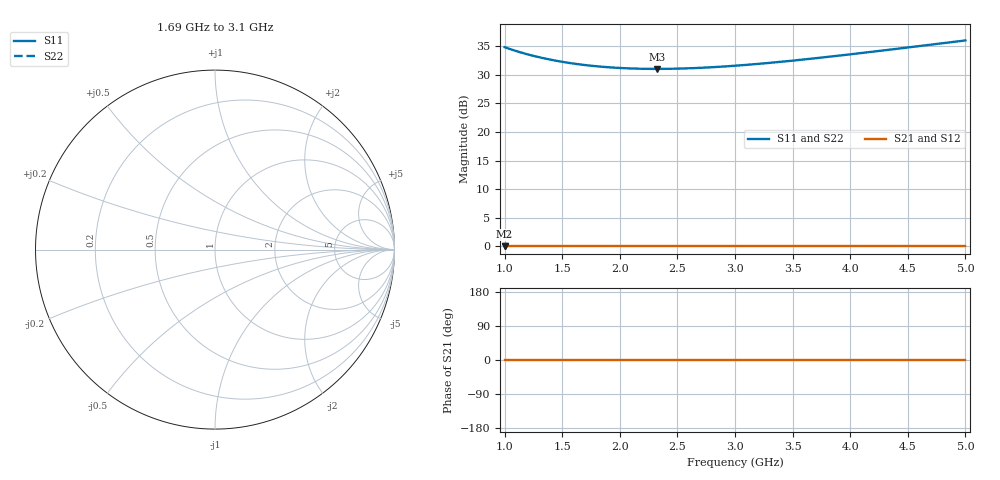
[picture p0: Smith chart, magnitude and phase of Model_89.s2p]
# GHZ S RI R 50
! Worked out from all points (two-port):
!   401 points, 1 GHz to 5 GHz, reference 50 ohm
!   highest |S21| = 0.00 dB at 1 GHz (marker M1); lowest = 0.0 dB at 1 GHz (marker M2)
!   |S21| within 3 dB of the highest: start of sweep to end of sweep
!   lowest |S11| = 31.1 dB at 2.32 GHz (marker M3)
!   |S11| at or under -10 dB: nowhere
!   |S22| runs from 31.1 to 36.0 dB; largest |S21 - S12| = 0
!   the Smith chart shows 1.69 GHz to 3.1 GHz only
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1  55.3 0  1 0  1 0  55.3 0
1.15  49.44 0  1 0  1 0  49.44 0
1.22  47.29 0  1 0  1 0  47.29 0
1.3  45.17 0  1 0  1 0  45.17 0
1.38  43.38 0  1 0  1 0  43.38 0
1.47  41.68 0  1 0  1 0  41.68 0
1.57  40.13 0  1 0  1 0  40.13 0
1.67  38.88 0  1 0  1 0  38.88 0
1.82  37.46 0  1 0  1 0  37.46 0
1.97  36.51 0  1 0  1 0  36.51 0
2.14  35.9 0  1 0  1 0  35.9 0
2.32  35.7 0  1 0  1 0  35.7 0
2.34  35.7 0  1 0  1 0  35.7 0
2.5  35.88 0  1 0  1 0  35.88 0
2.66  36.33 0  1 0  1 0  36.33 0
3  38.05 0  1 0  1 0  38.05 0
3.33  40.58 0  1 0  1 0  40.58 0
3.67  43.95 0  1 0  1 0  43.95 0
4  47.88 0  1 0  1 0  47.88 0
4.34  52.57 0  1 0  1 0  52.57 0
4.63  57.04 0  1 0  1 0  57.04 0
5  63.36 0  1 0  1 0  63.36 0
